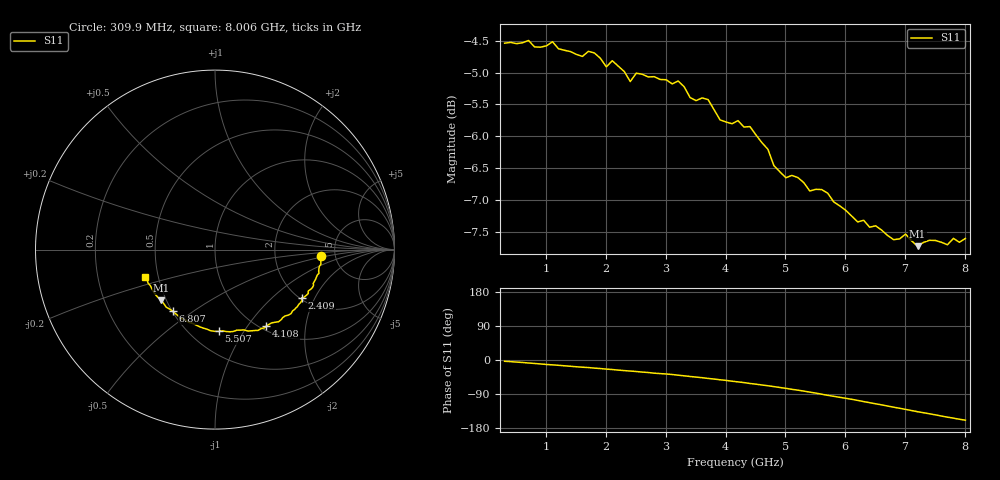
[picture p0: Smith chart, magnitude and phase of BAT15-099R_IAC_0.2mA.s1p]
! Infineon Technologies  Discrete & RF Semiconductors
! BAT15-099R
! IAC = 0.2 mA
! One-Port S-Parameters
# Hz  S  MA  R  50
!f  S11
!Hz  Mag  Ang
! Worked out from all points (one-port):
!   78 points, 309.9 MHz to 8.006 GHz, reference 50 ohm
!   lowest |S11| = -7.7 dB at 7.206 GHz (marker M1), VSWR 2.40, Z = 23.5 - j16 ohm
!   |S11| at or under -10 dB: nowhere
!   S11 on the Smith chart (normalised r, x): 309.9 MHz: 3.87, -0.41; 2.409 GHz: 2.04, -1.59; 4.108 GHz: 1.07, -1.23; 5.507 GHz: 0.68, -0.78; 6.807 GHz: 0.50, -0.42; 8.006 GHz: 0.42, -0.15
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3.0985e8  0.5929 -3.3
1.10945e9  0.5944 -12.9
1.30935e9  0.5853 -15.3
1.8091e9  0.5825 -21.4
2.009e9  0.5681 -24.0
2.10895e9  0.5744 -25.2
2.30885e9  0.5633 -28.0
2.4088e9  0.5533 -29.1
2.50875e9  0.5617 -30.4
3.2084e9  0.5538 -40.1
3.4083e9  0.5375 -43.5
3.70815e9  0.5356 -48.6
3.90805e9  0.5163 -52.2
4.10795e9  0.5127 -56.0
4.2079e9  0.5157 -57.7
4.4078e9  0.5101 -61.9
4.70765e9  0.4897 -68.0
4.8076e9  0.4755 -70.2
5.2074e9  0.4654 -79.6
5.50725e9  0.4556 -87.3
5.70715e9  0.4524 -93.2
6.10695e9  0.4342 -103.7
6.50675e9  0.4266 -115.6
6.8066e9  0.4161 -124.4
7.10645e9  0.4153 -133.3
7.2064e9  0.4113 -136.5
7.6062e9  0.4141 -147.9
8.006e9  0.417 -158.8
